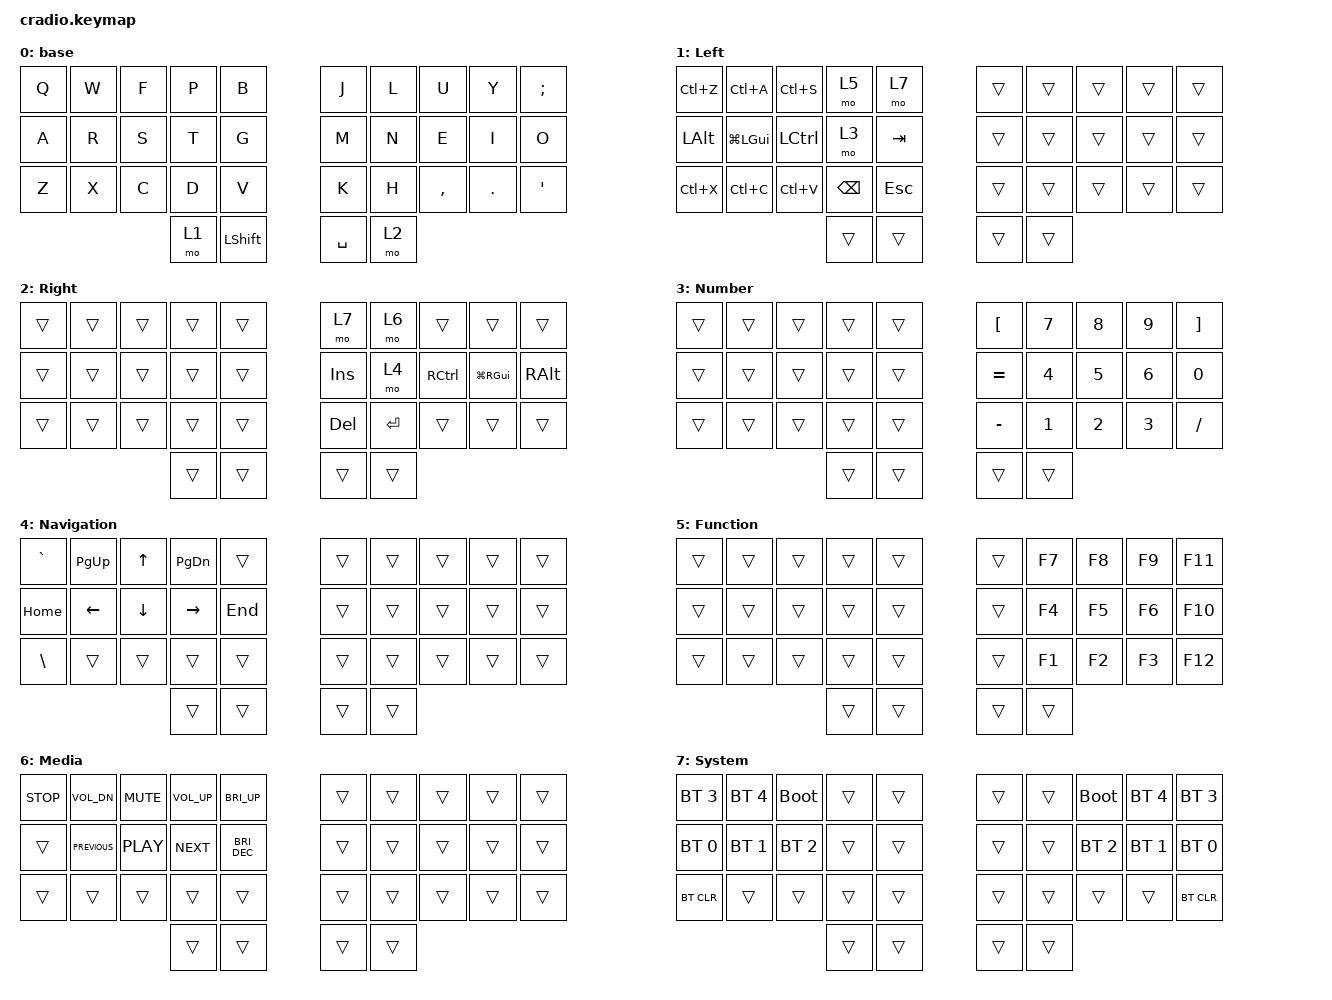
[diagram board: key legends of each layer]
/*
 * Copyright (c) 2020 The ZMK Contributors
 *
 * SPDX-License-Identifier: MIT
 */

#include <behaviors.dtsi>
#include <dt-bindings/zmk/keys.h>
#include <dt-bindings/zmk/bt.h>

// dt-formatter: indent = "  "
// dt-formatter: reindentMultilineIntegerCells = "dedent"

/ {
  behaviors {
    hm: homerow_mods {
      compatible = "zmk,behavior-hold-tap";
      label = "HOMEROW_MODS";
      #binding-cells = <2>;
      tapping-term-ms = <150>;
      quick-tap-ms = <0>;
      flavor = "tap-preferred";
      bindings =
        <&kp>,
        <&kp>;
    };
  };

  combos {
    compatible = "zmk,combos";
  };

  macros {
  };

  keymap {
    compatible = "zmk,keymap";

    base {
      bindings = <
  &kp Q  &kp W  &kp F  &kp P           &kp B        &kp J  &kp L      &kp U    &kp Y  &kp SEMI
  &kp A  &kp R  &kp S  &kp T           &kp G        &kp M  &kp N      &kp E    &kp I     &kp O
  &kp Z  &kp X  &kp C  &kp D           &kp V        &kp K  &kp H  &kp COMMA  &kp DOT   &kp SQT
                       &mo 1  &kp LEFT_SHIFT    &kp SPACE  &mo 2
      >;
    };

    left {
      bindings = <
  &kp LC(Z)     &kp LC(A)  &kp LC(S)          &mo 5    &mo 7    &trans  &trans  &trans  &trans  &trans
   &kp LALT  &kp LG(LGUI)  &kp LCTRL          &mo 3  &kp TAB    &trans  &trans  &trans  &trans  &trans
  &kp LC(X)     &kp LC(C)  &kp LC(V)  &kp BACKSPACE  &kp ESC    &trans  &trans  &trans  &trans  &trans
                                             &trans   &trans    &trans  &trans
      >;

      label = "Left";
    };

    right {
      bindings = <
  &trans  &trans  &trans  &trans  &trans         &mo 7    &mo 6     &trans        &trans    &trans
  &trans  &trans  &trans  &trans  &trans    &kp INSERT    &mo 4  &kp RCTRL  &kp LG(RGUI)  &kp RALT
  &trans  &trans  &trans  &trans  &trans       &kp DEL  &kp RET     &trans        &trans    &trans
                          &trans  &trans        &trans   &trans
      >;

      label = "Right";
    };

    number {
      bindings = <
  &trans  &trans  &trans  &trans  &trans     &kp LBKT  &kp N7  &kp N8  &kp N9  &kp RBKT
  &trans  &trans  &trans  &trans  &trans    &kp EQUAL  &kp N4  &kp N5  &kp N6    &kp N0
  &trans  &trans  &trans  &trans  &trans    &kp MINUS  &kp N1  &kp N2  &kp N3  &kp FSLH
                          &trans  &trans       &trans  &trans
      >;

      label = "Number";
    };

    navigation {
      bindings = <
  &kp GRAVE  &kp PG_UP    &kp UP  &kp PG_DN   &trans    &trans  &trans  &trans  &trans  &trans
   &kp HOME   &kp LEFT  &kp DOWN  &kp RIGHT  &kp END    &trans  &trans  &trans  &trans  &trans
   &kp BSLH     &trans    &trans     &trans   &trans    &trans  &trans  &trans  &trans  &trans
                                     &trans   &trans    &trans  &trans
      >;

      label = "Navigation";
    };

    function {
      bindings = <
  &trans  &trans  &trans  &trans  &trans    &trans  &kp F7  &kp F8  &kp F9  &kp F11
  &trans  &trans  &trans  &trans  &trans    &trans  &kp F4  &kp F5  &kp F6  &kp F10
  &trans  &trans  &trans  &trans  &trans    &trans  &kp F1  &kp F2  &kp F3  &kp F12
                          &trans  &trans    &trans  &trans
      >;

      label = "Function";
    };

    media {
      bindings = <
  &kp C_STOP    &kp C_VOL_DN  &kp C_MUTE  &kp C_VOLUME_UP   &kp C_BRI_UP    &trans  &trans  &trans  &trans  &trans
      &trans  &kp C_PREVIOUS  &kp C_PLAY       &kp C_NEXT  &kp C_BRI_DEC    &trans  &trans  &trans  &trans  &trans
      &trans          &trans      &trans           &trans         &trans    &trans  &trans  &trans  &trans  &trans
                                                   &trans         &trans    &trans  &trans
      >;

      label = "Media";
    };

    system {
      bindings = <
  &bt BT_SEL 3  &bt BT_SEL 4   &bootloader  &trans  &trans    &trans  &trans   &bootloader  &bt BT_SEL 4  &bt BT_SEL 3
  &bt BT_SEL 0  &bt BT_SEL 1  &bt BT_SEL 2  &trans  &trans    &trans  &trans  &bt BT_SEL 2  &bt BT_SEL 1  &bt BT_SEL 0
    &bt BT_CLR        &trans        &trans  &trans  &trans    &trans  &trans        &trans        &trans    &bt BT_CLR
                                            &trans  &trans    &trans  &trans
      >;

      label = "System";
    };
  };
};
